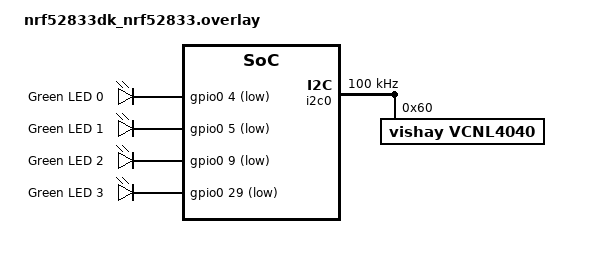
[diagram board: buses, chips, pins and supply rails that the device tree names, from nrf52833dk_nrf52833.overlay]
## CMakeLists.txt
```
cmake_minimum_required(VERSION 3.20.0)
find_package(Zephyr REQUIRED HINTS $ENV{ZEPHYR_BASE})

project(VCNL)

target_sources(app PRIVATE src/main.c)
```

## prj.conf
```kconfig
CONFIG_I2C=y
CONFIG_SENSOR=y
CONFIG_VCNL4040=y
CONFIG_VCNL4040_ENABLE_ALS=y

# CONFIG_VCNL4040_TRIGGER_GLOBAL_THREAD=y
```

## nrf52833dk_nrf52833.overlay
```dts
&i2c0 {
    compatible = "nordic,nrf-twim"; // Ensure this matches the I2C peripheral on your Nordic SoC
    status = "okay";
    clock-frequency = <I2C_BITRATE_STANDARD>; // Set the I2C bus speed to standard rate (100 kHz)

    vcnl4040@60 {  // Node for the VCNL4040 sensor with I2C address 0x60
        compatible = "vishay,vcnl4040"; // VCNL4040 sensor compatible string
        reg = <0x60>;                   // I2C address of the VCNL4040 sensor
        label = "VCNL4040";                // Optional label for the sensor
        status = "okay";                // Enable the sensor
    };
};

/ {
	leds {
		compatible = "gpio-leds";
		led0: led_0 {
			gpios = <&gpio0 4 GPIO_ACTIVE_LOW>;
			label = "Green LED 0";
		};
		led1: led_1 {
			gpios = <&gpio0 5 GPIO_ACTIVE_LOW>;
			label = "Green LED 1";
		};
		led2: led_2 {
			gpios = <&gpio0 9 GPIO_ACTIVE_LOW>;
			label = "Green LED 2";
		};
		led3: led_3 {
			gpios = <&gpio0 29 GPIO_ACTIVE_LOW>;
			label = "Green LED 3";
		};
	};
};
&pinctrl {
	uart0_default: uart0_default {
		group1 {
			psels = <NRF_PSEL(UART_TX, 0, 29)>, 
				<NRF_PSEL(UART_RX, 0, 28)>;
		};
	};

	uart0_sleep: uart0_sleep {
		group1 {
			psels = <NRF_PSEL(UART_TX, 0, 29)>,   
				<NRF_PSEL(UART_RX, 0, 28)>;
			low-power-enable;
		};
	};
	i2c0_default: i2c0_default {
		group1 {
			psels = <NRF_PSEL(TWIM_SDA, 0, 2)>,  
				<NRF_PSEL(TWIM_SCL, 0, 3)>;      
		};
	};

	i2c0_sleep: i2c0_sleep {
		group1 {
			psels = <NRF_PSEL(TWIM_SDA, 0, 2)>,   
				<NRF_PSEL(TWIM_SCL, 0, 3)>;        
			low-power-enable;
		};
	};

};
```

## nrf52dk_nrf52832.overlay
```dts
&i2c0 {
    compatible = "nordic,nrf-twim"; // Ensure this matches the I2C peripheral on your Nordic SoC
    status = "okay";
    clock-frequency = <I2C_BITRATE_STANDARD>; // Set the I2C bus speed to standard rate (100 kHz)

    vcnl4040@60 {  // Node for the VCNL4040 sensor with I2C address 0x60
        compatible = "vishay,vcnl4040"; // VCNL4040 sensor compatible string
        reg = <0x60>;                   // I2C address of the VCNL4040 sensor
        label = "VCNL4040";                // Optional label for the sensor
        status = "okay";                // Enable the sensor
    };
};

// /* For node Configuration only */

// &pinctrl {
// 	uart0_default: uart0_default {
// 		group1 {
// 			psels = <NRF_PSEL(UART_TX, 0, 24)>, //6   for nrf52dk5832 / 5840
// 				<NRF_PSEL(UART_RX, 0, 23)>,   //8	  for nrf52dk5832
// 				<NRF_PSEL(UART_RTS, 0, 5)>,
// 				<NRF_PSEL(UART_CTS, 0, 7)>;
// 		};
// 	};

// 	uart0_sleep: uart0_sleep {
// 		group1 {
// 			psels = <NRF_PSEL(UART_TX, 0, 24)>,    //6
// 				<NRF_PSEL(UART_RX, 0, 23)>,        //8
// 				<NRF_PSEL(UART_RTS, 0, 5)>,
// 				<NRF_PSEL(UART_CTS, 0, 7)>;
// 			low-power-enable;
// 		};
// 	};
// 	i2c0_default: i2c0_default {
// 		group1 {
// 			psels = <NRF_PSEL(TWIM_SDA, 0, 26)>,  
// 				<NRF_PSEL(TWIM_SCL, 0, 25)>;      
// 		};
// 	};

// 	i2c0_sleep: i2c0_sleep {
// 		group1 {
// 			psels = <NRF_PSEL(TWIM_SDA, 0, 26)>,   
// 				<NRF_PSEL(TWIM_SCL, 0, 25)>;        
// 			low-power-enable;
// 		};
// 	};
// };
```

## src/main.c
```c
#include <zephyr/kernel.h>		   // Include Zephyr kernel APIs for scheduling and timing
#include <zephyr/device.h>		   // Include Zephyr device APIs for device management
#include <zephyr/drivers/sensor.h> // Include Zephyr sensor APIs for sensor operations

#define delayTime 1000 // Define the sleep duration in milliseconds

struct sensor_value val; // Declare a variable to hold sensor data



void main(void)
{
	const struct device *vcnl = DEVICE_DT_GET_ANY(vishay_vcnl4040); // Get a handle to the VCNL4040 sensor device from the device tree

	if (!device_is_ready(vcnl)) // Check if the VCNL4040 sensor device is ready for use
	{
		printk("Sensor: device not ready.\n"); // Print an error message if the sensor device is not ready
		return;								   // Exit the function as the sensor is not available
	}

	while (1) // Enter an infinite loop to continuously fetch and display sensor data
	{
		printk("Starting VCNL4040 for Lux\n"); // Print a message to indicate the start of a new sensor reading

		if (sensor_sample_fetch(vcnl) == 0) // Fetch the latest sample from the VCNL4040 sensor
		{
			if (sensor_channel_get(vcnl, SENSOR_CHAN_LIGHT, &val) == 0) // Get the light intensity value from the sensor
			{
				printk(" Light (lux): %d\n", val.val1); // Print the current time (in seconds) and the light intensity in lux
			}
			else
			{
				printk("Sensor read error.\n"); // Print an error message if getting the sensor value failed
			}
		}
		else
		{
			printk("Sensor sample fetch error.\n"); // Print an error message if fetching the sensor sample failed
		}

		k_msleep(delayTime); // Sleep for the defined duration before the next iteration
		
	}
}
```
